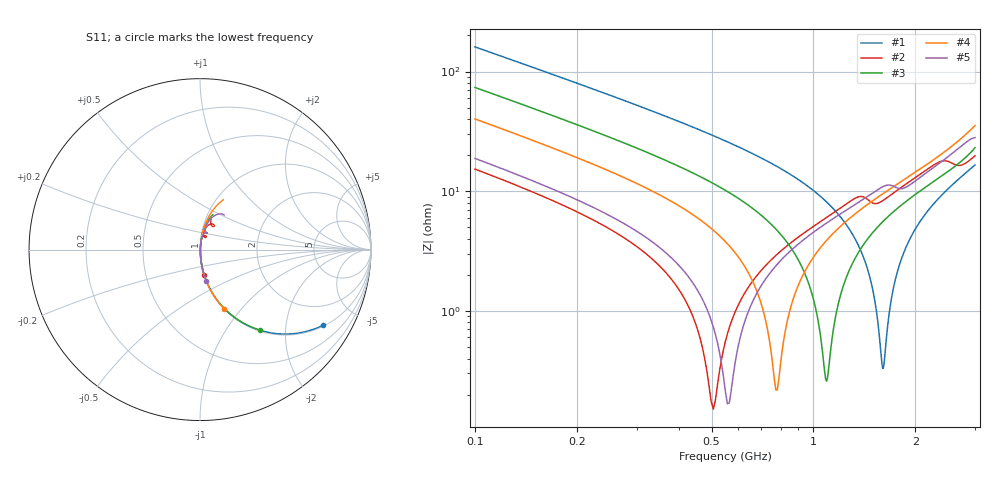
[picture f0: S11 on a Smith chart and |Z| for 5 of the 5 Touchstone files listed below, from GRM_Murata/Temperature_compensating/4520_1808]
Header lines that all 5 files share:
!These Parameters are Measured in Series Mode Connection
!Data Generated on Mar 30, 2021
!  o--ll--o
!Port1  Port2
!  o------o
!Operation Temp=25[degC], DC Bias Voltage=0[V]
!Freq. Start=100[MHz] Stop=3[GHz] 401[Steps]
# Hz S RI R 50
!Freq.(Hz) S11(Real) S11(Imag) S21(Real) S21(Imag) S12(Real) S12(Imag) S22(Real) S22(Imag)
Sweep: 100 MHz to 3 GHz
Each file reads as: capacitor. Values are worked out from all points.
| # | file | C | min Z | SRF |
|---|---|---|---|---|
| 1 | GRM42A7U3F100JW31.s2p | 9.82 pF | 331 mohm | 1.605 GHz |
| 2 | GRM42A7U3F101JW31.s2p | 99.9 pF | 151 mohm | 505.6 MHz |
| 3 | GRM42A7U3F220JW31.s2p | 21.4 pF | 259 mohm | 1.093 GHz |
| 4 | GRM42A7U3F390JW31.s2p | 38.9 pF | 219 mohm | 778 MHz |
| 5 | GRM42A7U3F820JW31.s2p | 81.9 pF | 168 mohm | 560.2 MHz |
